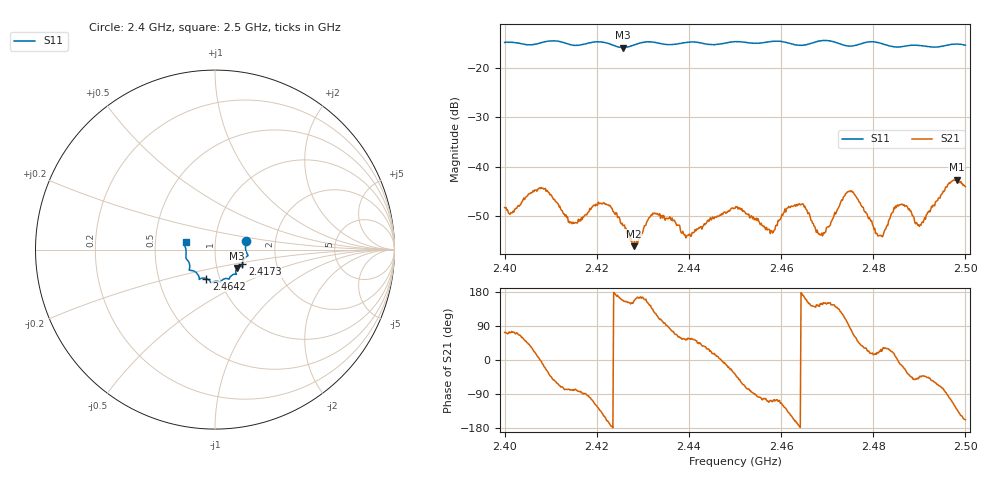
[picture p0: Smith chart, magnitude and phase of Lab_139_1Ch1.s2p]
# Hz S RI R 50
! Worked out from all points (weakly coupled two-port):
!   601 points, 2.4 GHz to 2.5 GHz, reference 50 ohm
!   highest |S21| = -42.59 dB at 2.4982 GHz (marker M1); lowest = -56.0 dB at 2.428 GHz (marker M2)
!   lowest |S11| = -15.9 dB at 2.4257 GHz (marker M3), VSWR 1.38, Z = 62.4 - j13.1 ohm
!   |S11| at or under -10 dB: start of sweep to end of sweep
!   S12 and S22 are empty: the file has one direction only
!   S11 on the Smith chart (normalised r, x): 2.4 GHz: 1.41, +0.14; 2.4173 GHz: 1.34, -0.23; 2.4642 GHz: 0.86, -0.29; 2.5 GHz: 0.72, +0.06
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2.4e9  0.1731 0.0496  0.00115 0.00371  0 0  0 0
2.408333e9  0.1795 -0.0236  0.00597 -0.00118  0 0  0 0
2.414333e9  0.1632 -0.0494  0.000559 -0.00271  0 0  0 0
2.416667e9  0.1528 -0.0746  0.000227 -0.00306  0 0  0 0
2.417333e9  0.1523 -0.0821  6.1e-05 -0.00323  0 0  0 0
2.421833e9  0.1522 -0.0948  -0.00369 -0.00199  0 0  0 0
2.425667e9  0.1226 -0.1022  -0.00236 0.000969  0 0  0 0
2.428e9  0.1152 -0.1236  -0.00143 0.000683  0 0  0 0
2.433333e9  0.1127 -0.1369  -0.00125 0.00303  0 0  0 0
2.439833e9  0.0801 -0.1626  0.00108 0.00172  0 0  0 0
2.45e9  0.0296 -0.181  0.00304 -0.0023  0 0  0 0
2.458167e9  -0.0192 -0.1836  -0.00073 -0.00202  0 0  0 0
2.464167e9  -0.0481 -0.1611  -0.00415 -0.000145  0 0  0 0
2.466667e9  -0.0762 -0.1598  -0.00227 0.00172  0 0  0 0
2.469167e9  -0.0876 -0.1668  -0.00189 0.00103  0 0  0 0
2.475e9  -0.1066 -0.1263  0.000656 0.0057  0 0  0 0
2.481e9  -0.1424 -0.1092  0.0019 0.000649  0 0  0 0
2.483333e9  -0.1407 -0.0893  0.00248 0.0014  0 0  0 0
2.486167e9  -0.1508 -0.0617  0.00405 -0.00107  0 0  0 0
2.490333e9  -0.1625 -0.0395  0.00184 -0.0018  0 0  0 0
2.498167e9  -0.1705 0.0325  -0.00479 -0.00567  0 0  0 0
2.5e9  -0.1634 0.0418  -0.00582 -0.0024  0 0  0 0
